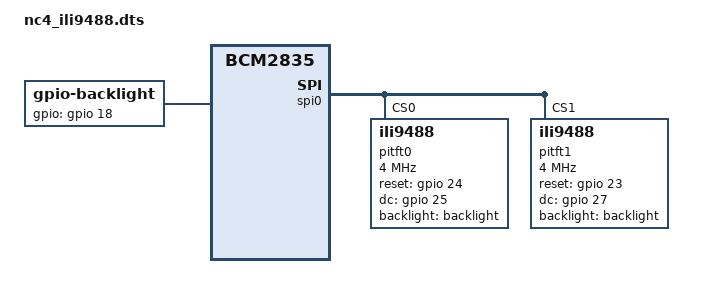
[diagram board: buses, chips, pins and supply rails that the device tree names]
/********************************************************************************
 * nc4_ili9488.dts
 *
 * Device Tree Overlay for two ILI9488 panels on Raspberry Pi's SPI0 bus.
 * - Disables spidev0 (CE0) and spidev1 (CE1) unless we decide we need spidev.
 * - Creates two SPI child nodes, pitft0@0 (CE0) and pitft1@1 (CE1).
 * - All GPIO lines (RESET, DC, Backlight, etc.) are grouped at the SPI0 parent,
 *   referencing them by a phandle to ensure the Pi firmware merges them properly.
 * - Minimizes pinctrl references in child nodes, which only specify reset/dc/backlight.
 *
 * Usage:
 *   dtoverlay=nc4_ili9488
 ********************************************************************************/

 /dts-v1/;
/plugin/;

 /{
	compatible = "brcm,bcm2835";

	/****************************************************************************
	 * Fragment 0: Enable SPI0 hardware
	 ****************************************************************************/
	fragment@0 {
		target = <&spi0>;
		__overlay__ {
			status = "okay";
		};
	};

	/****************************************************************************
	 * Fragment 1: Disable spidev0 (on CE0)1434
	 ****************************************************************************/
	fragment@1 {
		target = <&spidev0>;
		__overlay__ {
			status = "disabled";
		};
	};

	/****************************************************************************
	 * Fragment 2: Disable spidev1 (on CE1)
	 ****************************************************************************/
	fragment@2 {
		target = <&spidev1>;
		__overlay__ {
			status = "disabled";
		};
	};

	/****************************************************************************
	 * Fragment 3: Define a single pin group for all pins used by both panels
	 *             on SPI0. We'll call it spi0_aux_pins, and assign a unique
	 *             phandle so we can reference it in another fragment.
	 *
	 *   GPIO24, GPIO25 = used by first panel (pitft0)
	 *   GPIO23, GPIO27 = used by second panel (pitft1)
	 *   GPIO18         = shared backlight
	 ****************************************************************************/
	fragment@3 {
		target = <&gpio>;
		__overlay__ {
			spi0_aux_pins: spi0_aux_pins {
				brcm,pins = <18 23 24 25 27>;
				brcm,function = <1 1 1 1 1>; /* all set as output */
				phandle = <0x99>;  /* an arbitrary unique phandle */
			};
		};
	};

	/****************************************************************************
	 * Fragment 4: Attach that pin group to the SPI0 node with pinctrl references,
	 *             using the phandle we set above (0x99).
	 ****************************************************************************/
	fragment@4 {
		target = <&spi0>;
		__overlay__ {
			pinctrl-names = "default";
			pinctrl-0 = <0x99>;
			/* status = "okay"; - already set in fragment@0 */
		};
	};

	/****************************************************************************
	 * Fragment 5: FIRST ILI9488 device node on SPI0 CE0 (pitft0@0)
	 *
	 *   - No pinctrl references here, because we handle pinctrl at the parent.
	 *   - We do specify reset/dc/backlight so the driver can parse them.
	 ****************************************************************************/
	fragment@5 {
		target = <&spi0>;
		__overlay__ {
			#address-cells = <1>;
			#size-cells = <0>;

			pitft0: pitft0@0 {
				compatible = "ili9488";
				reg = <0>;              /* CE0 line */
				spi-max-frequency = <4000000>;
				rotation = <0>;

				/* First panel's reset/dc lines on GPIO24, GPIO25 */
				reset-gpios = <&gpio 24 0>;
				dc-gpios = <&gpio 25 0>;

				/* Shared backlight on GPIO18 */
				backlight = <&backlight>;
			};
		};
	};

	/****************************************************************************
	 * Fragment 6: SECOND ILI9488 device node on SPI0 CE1 (pitft1@1)
	 ****************************************************************************/
	fragment@6 {
		target = <&spi0>;
		__overlay__ {
			pitft1: pitft1@1 {
				compatible = "ili9488";
				reg = <1>;              /* CE1 line */
				spi-max-frequency = <4000000>;
				rotation = <0>;

				/* Second panel's reset/dc lines on GPIO23, GPIO27 */
				reset-gpios = <&gpio 23 0>;
				dc-gpios = <&gpio 27 0>;

				backlight = <&backlight>;
			};
		};
	};

	/****************************************************************************
	 * Fragment 7: Shared backlight control for both panels on GPIO18
	 ****************************************************************************/
	fragment@7 {
		target-path = "/soc";
		__overlay__ {
			backlight: backlight {
				compatible = "gpio-backlight";
				gpios = <&gpio 18 0>;
			};
		};
	};

	/****************************************************************************
	 * Overridable parameters for speed and rotation (via config.txt overrides)
	 ****************************************************************************/
	__overrides__ {
		speed = <&pitft0>,"spi-max-frequency:0",
		         <&pitft1>,"spi-max-frequency:0";
		rotation = <&pitft0>,"rotation:0",
		            <&pitft1>,"rotation:0";
	};
};
